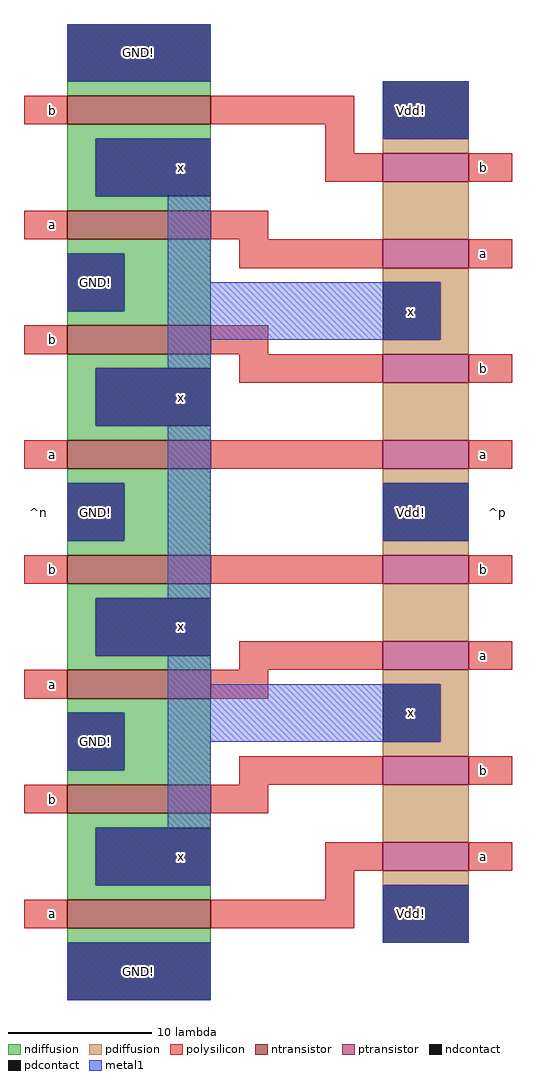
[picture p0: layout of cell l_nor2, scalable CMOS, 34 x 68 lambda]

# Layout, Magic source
magic
tech scmos
<< ndiffusion >>
rect 192 642 202 643
rect 192 639 202 640
rect 192 635 194 639
rect 192 634 202 635
rect 192 631 202 632
rect 196 627 202 631
rect 192 626 202 627
rect 192 623 202 624
rect 192 619 194 623
rect 192 618 202 619
rect 192 615 202 616
rect 196 611 202 615
rect 192 610 202 611
rect 192 607 202 608
rect 192 603 194 607
rect 192 602 202 603
rect 192 599 202 600
rect 196 595 202 599
rect 192 594 202 595
rect 192 591 202 592
rect 192 587 194 591
rect 192 586 202 587
rect 192 583 202 584
<< pdiffusion >>
rect 214 638 220 639
rect 214 632 220 636
rect 214 629 220 630
rect 218 625 220 629
rect 214 624 220 625
rect 214 618 220 622
rect 214 615 220 616
rect 214 610 220 611
rect 214 604 220 608
rect 214 601 220 602
rect 218 597 220 601
rect 214 596 220 597
rect 214 590 220 594
rect 214 587 220 588
<< ntransistor >>
rect 192 640 202 642
rect 192 632 202 634
rect 192 624 202 626
rect 192 616 202 618
rect 192 608 202 610
rect 192 600 202 602
rect 192 592 202 594
rect 192 584 202 586
<< ptransistor >>
rect 214 636 220 638
rect 214 630 220 632
rect 214 622 220 624
rect 214 616 220 618
rect 214 608 220 610
rect 214 602 220 604
rect 214 594 220 596
rect 214 588 220 590
<< polysilicon >>
rect 189 640 192 642
rect 202 640 212 642
rect 210 638 212 640
rect 210 636 214 638
rect 220 636 223 638
rect 189 632 192 634
rect 202 632 206 634
rect 204 630 214 632
rect 220 630 223 632
rect 189 624 192 626
rect 202 624 206 626
rect 204 622 214 624
rect 220 622 223 624
rect 189 616 192 618
rect 202 616 214 618
rect 220 616 223 618
rect 189 608 192 610
rect 202 608 214 610
rect 220 608 223 610
rect 204 602 214 604
rect 220 602 223 604
rect 189 600 192 602
rect 202 600 206 602
rect 204 594 214 596
rect 220 594 223 596
rect 189 592 192 594
rect 202 592 206 594
rect 210 588 214 590
rect 220 588 223 590
rect 210 586 212 588
rect 189 584 192 586
rect 202 584 212 586
<< ndcontact >>
rect 192 643 202 647
rect 194 635 202 639
rect 192 627 196 631
rect 194 619 202 623
rect 192 611 196 615
rect 194 603 202 607
rect 192 595 196 599
rect 194 587 202 591
rect 192 579 202 583
<< pdcontact >>
rect 214 639 220 643
rect 214 625 218 629
rect 214 611 220 615
rect 214 597 218 601
rect 214 583 220 587
<< metal1 >>
rect 192 643 202 647
rect 214 639 220 643
rect 194 635 202 639
rect 192 627 196 631
rect 199 629 202 635
rect 199 625 218 629
rect 199 623 202 625
rect 194 619 202 623
rect 192 611 196 615
rect 199 607 202 619
rect 214 611 220 615
rect 194 603 202 607
rect 199 601 202 603
rect 192 595 196 599
rect 199 597 218 601
rect 199 591 202 597
rect 194 587 202 591
rect 214 583 220 587
rect 192 579 202 583
<< labels >>
rlabel polysilicon 221 603 221 603 7 a
rlabel polysilicon 221 609 221 609 7 b
rlabel polysilicon 221 589 221 589 7 a
rlabel polysilicon 221 595 221 595 7 b
rlabel polysilicon 221 623 221 623 7 b
rlabel polysilicon 221 617 221 617 7 a
rlabel polysilicon 221 637 221 637 7 b
rlabel polysilicon 221 631 221 631 7 a
rlabel polysilicon 191 641 191 641 7 b
rlabel polysilicon 191 625 191 625 7 b
rlabel polysilicon 191 609 191 609 7 b
rlabel polysilicon 191 593 191 593 7 b
rlabel polysilicon 191 585 191 585 7 a
rlabel polysilicon 191 601 191 601 7 a
rlabel polysilicon 191 617 191 617 7 a
rlabel polysilicon 191 633 191 633 7 a
rlabel space 188 579 192 647 7 ^n
rlabel space 220 583 224 643 3 ^p
rlabel pdcontact 216 627 216 627 1 x
rlabel pdcontact 216 599 216 599 1 x
rlabel ndcontact 200 589 200 589 1 x
rlabel ndcontact 200 605 200 605 1 x
rlabel ndcontact 200 621 200 621 1 x
rlabel ndcontact 200 637 200 637 1 x
rlabel ndcontact 197 581 197 581 1 GND!
rlabel ndcontact 194 597 194 597 3 GND!
rlabel ndcontact 194 613 194 613 3 GND!
rlabel ndcontact 194 629 194 629 3 GND!
rlabel ndcontact 197 645 197 645 5 GND!
rlabel pdcontact 216 641 216 641 1 Vdd!
rlabel pdcontact 216 613 216 613 1 Vdd!
rlabel pdcontact 216 585 216 585 1 Vdd!
<< end >>
